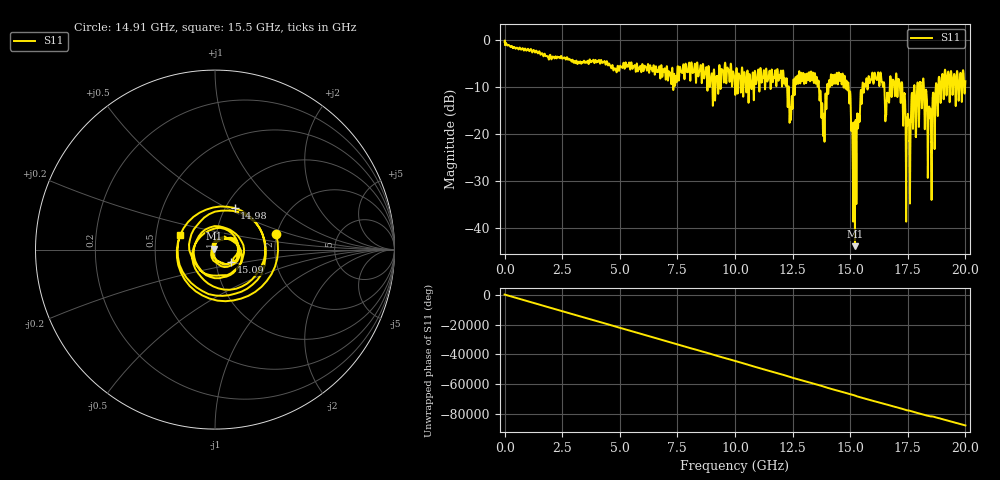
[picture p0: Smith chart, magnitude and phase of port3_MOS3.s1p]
! MS46122B
! 2250307/22442219
! 6/12/2025 7:37:06 AM
! C:\USERS\SPARKY\DOCUMENTS\VNA_DATA\JUNE12_2025\3.1 KELVIN\PORT3.S1P
! CHANNEL.1
! TR.MEASUREMENT
! RAW.DATA
# GHZ S RI R 50.0
! FREQ.GHZ  S11RE  S11IM
!; PortSelection: Port_1
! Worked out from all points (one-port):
!   10001 points, 1 MHz to 20 GHz, reference 50 ohm
!   lowest |S11| = -43.8 dB at 15.21 GHz (marker M1), VSWR 1.01, Z = 49.5 + j0.437 ohm
!   |S11| at or under -10 dB: 14.93 GHz to 15.53 GHz (597.1 MHz wide, 3.92 % of centre); 17.26 GHz to 17.77 GHz (511.8 MHz wide, 2.92 % of centre); 18.2 GHz to 18.72 GHz (517.3 MHz wide, 2.8 % of centre) (the widest 3 of 50)
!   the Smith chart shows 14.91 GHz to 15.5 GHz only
!   S11 on the Smith chart (normalised r, x): 14.91 GHz: 1.98, +0.39; 14.98 GHz: 1.10, +0.55; 15.09 GHz: 1.19, -0.16; 15.5 GHz: 0.67, +0.12
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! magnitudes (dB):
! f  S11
! 1 MHz  -0.5
! 2.501 GHz  -4.0
! 5.001 GHz  -5.7
! 7.501 GHz  -6.2
! 10 GHz  -10.7
! 11.92 GHz  -7.6
! 12.37 GHz  -17.4
! 12.5 GHz  -14.6
! 12.71 GHz  -7.7
! 13.38 GHz  -7.0
! 13.82 GHz  -20.2
! 14.17 GHz  -7.4
! 14.91 GHz  -9.1
! 14.98 GHz  -11.8
! 15 GHz  -11.1
! 15.09 GHz  -18.8
! 15.21 GHz  -43.8
! 15.5 GHz  -13.6
! 16.14 GHz  -8.4
! 16.6 GHz  -11.6
! 17.06 GHz  -10.9
! 17.3 GHz  -17.4
! 17.5 GHz  -15.9
! 17.72 GHz  -18.9
! 18.11 GHz  -14.4
! 18.45 GHz  -16.4
! 19.05 GHz  -12.2
! 20 GHz  -8.8
